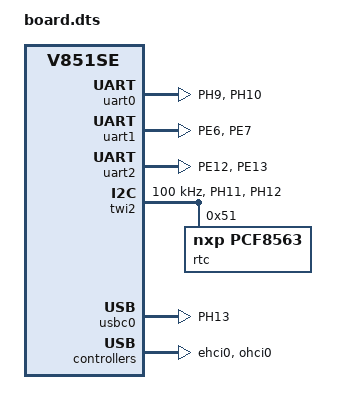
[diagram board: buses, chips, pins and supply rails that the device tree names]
/*
 * Allwinner Technology CO., Ltd. sun8iw21p1 soc board.
 *
 * Antares board configuration
 */

/dts-v1/;

#include "sun8iw21p1.dtsi"

/{
	compatible = "allwinner,sun8iw21p1", "arm,sun8iw21p1", "allwinner,v851se";
	soc@03000000 {
		/* Disable WLAN module */
		wlan: wlan@0 {
			status = "disabled";
		};

		/* Disable video input subsystem - not used */
		vind0:vind@0 {
			vind0_clk = <200000000>;
			status = "disabled";

			csi2:csi@2 {
				pinctrl-names = "default","sleep";
				pinctrl-0 = <&ncsi_pins_a>;
				pinctrl-1 = <&ncsi_pins_b>;
				status = "disabled";
			};

			tdm0:tdm@0 {
				work_mode = <0>;
			};

			isp00:isp@0 {
				work_mode = <0>;
			};

			scaler00:scaler@0 {
				work_mode = <0>;
			};

			scaler10:scaler@4 {
				work_mode = <0>;
			};

			scaler20:scaler@8 {
				work_mode = <0>;
			};

			scaler30:scaler@12 {
				work_mode = <0>;
			};

			actuator0:actuator@0 {
				device_type = "actuator0";
				actuator0_name = "ad5820_act";
				actuator0_slave = <0x18>;
				actuator0_af_pwdn = <>;
				actuator0_afvdd = "afvcc-csi";
				actuator0_afvdd_vol = <2800000>;
				status = "disabled";
			};

			flash0:flash@0 {
				device_type = "flash0";
				flash0_type = <2>;
				flash0_en = <>;
				flash0_mode = <>;
				flash0_flvdd = "";
				flash0_flvdd_vol = <>;
				status = "disabled";
			};

			sensor0:sensor@0 {
				device_type = "sensor0";
				sensor0_mname = "gc2053_mipi";
				sensor0_twi_cci_id = <3>;
				sensor0_twi_addr = <0x6e>;
				sensor0_mclk_id = <0>;
				sensor0_pos = "rear";
				sensor0_isp_used = <1>;
				sensor0_fmt = <1>;
				sensor0_stby_mode = <0>;
				sensor0_vflip = <0>;
				sensor0_hflip = <0>;
				sensor0_iovdd-supply = <>;
				sensor0_iovdd_vol = <1800000>;
				sensor0_avdd-supply = <>;
				sensor0_avdd_vol = <2800000>;
				sensor0_dvdd-supply = <>;
				sensor0_dvdd_vol = <1200000>;
				sensor0_power_en = <>;
				sensor1_reset = <&pio PA 20 1 0 1 0>;
				sensor1_pwdn = <&pio PA 21 1 0 1 0>;
				sensor0_sm_hs = <>;
				sensor0_sm_vs = <>;
				flash_handle = <&flash0>;
				act_handle = <&actuator0>;
				status	= "disabled";
			};

			sensor1:sensor@1 {
				device_type = "sensor1";
				sensor1_mname = "imx386_mipi_2";
				sensor1_twi_cci_id = <0>;
				sensor1_twi_addr = <0x20>;
				sensor1_mclk_id = <1>;
				sensor1_pos = "front";
				sensor1_isp_used = <1>;
				sensor1_fmt = <1>;
				sensor1_stby_mode = <0>;
				sensor1_vflip = <0>;
				sensor1_hflip = <0>;
				sensor1_iovdd-supply = <>;
				sensor1_iovdd_vol = <1800000>;
				sensor1_avdd-supply = <>;
				sensor1_avdd_vol = <2800000>;
				sensor1_dvdd-supply = <>;
				sensor1_dvdd_vol = <1200000>;
				sensor1_power_en = <>;
				sensor1_reset = <&pio PA 20 1 0 1 0>;
				sensor1_pwdn = <&pio PA 21 1 0 1 0>;
				sensor1_sm_hs = <&pio PE 2 1 0 1 0>;
				sensor1_sm_vs = <&pio PE 3 1 0 1 0>;
				flash_handle = <>;
				act_handle = <>;
				status	= "disabled";
			};

			/* Disable all camera inputs */
			vinc00:vinc@0 {
				vinc0_csi_sel = <0>;
				vinc0_mipi_sel = <0>;
				vinc0_isp_sel = <0>;
				vinc0_isp_tx_ch_ = <0>;
				vinc0_tdm_rx_sel = <0>;
				vinc0_rear_sensor_sel = <0>;
				vinc0_front_sensor_sel = <0>;
				vinc0_sensor_list = <0>;
				work_mode = <0x0>;
				status = "disabled";
			};

			vinc01:vinc@1 {
				vinc1_csi_sel = <2>;
				vinc1_mipi_sel = <0xff>;
				vinc1_isp_sel = <1>;
				vinc1_isp_tx_ch = <1>;
				vinc1_tdm_rx_sel = <1>;
				vinc1_rear_sensor_sel = <0>;
				vinc1_front_sensor_sel = <0>;
				vinc1_sensor_list = <0>;
				status = "disabled";
			};
		};
	};
};

&npu {
	clock-frequency = <348000000>;/*0.93V 348M*;  0.96V  348M */
	status = "disabled"; // Disable NPU
};

/* UART0: Debug/main UART interface connected to connector J4 (PH9/PH10) */
&uart0 {
	pinctrl-names = "default", "sleep";
	pinctrl-0 = <&uart0_pins_active>;
	pinctrl-1 = <&uart0_pins_sleep>;
	status = "okay";
};

/* UART1: Connected to LTE modem (PE6/PE7) */
&uart1 {
	pinctrl-names = "default", "sleep";
	pinctrl-0 = <&uart1_pins_active>;
	pinctrl-1 = <&uart1_pins_sleep>;
	status = "okay";
};

/* UART2: User interface accessible through connector J3 (PE12/PE13) */
&uart2 {
	pinctrl-names = "default", "sleep";
	pinctrl-0 = <&uart2_pins_active>;
	pinctrl-1 = <&uart2_pins_sleep>;
	status = "okay";
};

/* UART3: Disabled - not used */
&uart3 {
	pinctrl-names = "default", "sleep";
	pinctrl-0 = <&uart3_pins_active>;
	pinctrl-1 = <&uart3_pins_sleep>;
	status = "disabled";
};

&pio {
	/* GPIO control pins configuration */
	gpio_control_pins_a: gpio-control-a@0 {
		allwinner,pins = "PA8", "PA9";
		allwinner,function = "gpio_out";
		allwinner,muxsel = <1>;
		allwinner,drive = <1>;
		allwinner,pull = <0>;
	};

	gpio_control_pins_e: gpio-control-e@0 {
		allwinner,pins = "PE3", "PE4", "PE11";
		allwinner,function = "gpio_out";
		allwinner,muxsel = <1>;
		allwinner,drive = <1>;
		allwinner,pull = <0>;
	};

	/* GPIO LED pins configuration */
	gpio_led_pins: gpio-led-pins@0 {
		allwinner,pins = "PF1", "PF4", "PF6";
		allwinner,function = "gpio_out";
		allwinner,muxsel = <1>;
		allwinner,drive = <1>;
		allwinner,pull = <0>;
	};

	/* GPIO input pins configuration (status signals) */
	gpio_input_pins_e: gpio-input-e@0 {
		allwinner,pins = "PE0", "PE2", "PE5", "PE8", "PE9";
		allwinner,function = "gpio_in";
		allwinner,muxsel = <0>;
		allwinner,drive = <0>;
		allwinner,pull = <1>; /* Pull-up for stable readings */
	};

	gpio_input_pins_f: gpio-input-f@0 {
		allwinner,pins = "PF3";
		allwinner,function = "gpio_in";
		allwinner,muxsel = <0>;
		allwinner,drive = <0>;
		allwinner,pull = <1>; /* Pull-up for stable readings */
	};

	gpio_input_pins_h: gpio-input-h@0 {
		allwinner,pins = "PH0";
		allwinner,function = "gpio_in";
		allwinner,muxsel = <0>;
		allwinner,drive = <0>;
		allwinner,pull = <1>; /* Pull-up for stable readings */
	};

	usb_vbus_pins: usb-vbus@0 {
    allwinner,pins = "PH13";
    allwinner,function = "gpio_in";
    allwinner,muxsel = <0>;
    allwinner,drive = <0>;
    allwinner,pull = <1>; /* Pull-up for VBUS detection */
	};

	/* UART0: Debug/main UART (PH9/PH10) */
	uart0_pins_active: uart0@0 {
		allwinner,pins = "PH9", "PH10";
		allwinner,function = "uart0";
		allwinner,muxsel = <5>;
		allwinner,drive = <1>;
		allwinner,pull = <1>;
	};

	uart0_pins_sleep: uart0@1 {
		allwinner,pins = "PH9", "PH10";
		allwinner,function = "gpio_in";
		allwinner,muxsel = <0>;
	};

	/* UART1: LTE Modem interface (PE6/PE7) */
	uart1_pins_active: uart1@0 {
		allwinner,pins = "PE6", "PE7";
		allwinner,function = "uart1";
		allwinner,muxsel = <6>;
		allwinner,drive = <1>;
		allwinner,pull = <1>;
	};

	uart1_pins_sleep: uart1@1 {
		allwinner,pins = "PE6", "PE7";
		allwinner,function = "gpio_in";
		allwinner,muxsel = <0>;
	};

	/* UART2: User interface (PE12/PE13) */
	uart2_pins_active: uart2@0 {
		allwinner,pins = "PE12", "PE13";
		allwinner,function = "uart2";
		allwinner,muxsel = <6>;
		allwinner,drive = <1>;
		allwinner,pull = <1>;
	};

	uart2_pins_sleep: uart2@1 {
		allwinner,pins = "PE12", "PE13";
		allwinner,function = "gpio_in";
		allwinner,muxsel = <0>;
	};

	uart3_pins_active: uart3@0 {
		allwinner,pins = "PH0", "PH1";
		allwinner,function = "uart3";
		allwinner,muxsel = <5>;
		allwinner,drive = <1>;
		allwinner,pull = <1>;
	};

	uart3_pins_sleep: uart3@1 {
		allwinner,pins = "PH0", "PH1";
		allwinner,function = "gpio_in";
		allwinner,muxsel = <0>;
	};

	/* SPI0: Flash Memory interface (PC0-PC5) */
	spi0_pins_a: spi0@0 {
		allwinner,pins = "PC0", "PC2", "PC3";
		allwinner,pname = "spi0_sclk", "spi0_mosi", "spi0_miso";
		allwinner,function = "spi0";
		allwinner,muxsel = <4>;
		allwinner,drive = <1>;
		allwinner,pull = <0>;
	};

	spi0_pins_b: spi0@1 {
		allwinner,pins = "PC1", "PC5", "PC4";
		allwinner,pname = "spi0_cs0", "spi0_hold", "spi0_wp";
		allwinner,function = "spi0";
		allwinner,muxsel = <4>;
		allwinner,drive = <1>;
		allwinner,pull = <1>;   // only CS should be pulled up
	};

	spi0_pins_c: spi0@2 {
		allwinner,pins = "PC0", "PC1", "PC2", "PC3", "PC4", "PC5";
		allwinner,function = "io_disabled";
		allwinner,muxsel = <7>;
		allwinner,drive = <1>;
		allwinner,pull = <0>;
	};

	/* TWI2: I2C interface for Microcontroller, Accelerometer, RTC and 1Wire (PH11/PH12) */
	twi2_pins_a: twi2@0 {
		allwinner,pins = "PH11", "PH12";
		allwinner,pname = "twi2_scl", "twi2_sda";
		allwinner,function = "twi2";
		allwinner,muxsel = <5>;
		allwinner,drive = <0>;
		allwinner,pull = <0>;
	};

	twi2_pins_b: twi2@1 {
		allwinner,pins = "PH11", "PH12";
		allwinner,function = "io_disabled";
		allwinner,muxsel = <0xf>;
		allwinner,drive = <0>;
		allwinner,pull = <0>;
	};
};

/* SPI0: Flash Memory interface - Disabled (handled by U-Boot) */
&spi0 {
	clock-frequency = <100000000>;
	pinctrl-0 = <&spi0_pins_a &spi0_pins_b>;
	pinctrl-1 = <&spi0_pins_c>;
	pinctrl-names = "default", "sleep";
	spi_slave_mode = <0>;
	spi_dbi_enable = <0>;
	spi0_cs_number = <1>;
	status = "disabled";

	spi_board0 {
		device_type = "spi_board0";
		compatible = "spi-nor";
		spi-max-frequency = <0x05F5E100>;
		m25p,fast-read = <1>;
		/*individual_lock;*/
		reg = <0x0>;
		spi-rx-bus-width=<0x04>;
		spi-tx-bus-width=<0x04>;
		status="disabled";
	};

	spi-nand@0 {
		compatible = "spi-nand";
		spi-max-frequency=<0x05F5E100>;
		reg = <0x0>;
		spi-rx-bus-width=<0x04>;
		spi-tx-bus-width=<0x04>;
		status="disabled";
	};
};

/* Disable SPI1 - not used */
&spi1 {
	status = "disabled";
};

/* Disable SPI5/SPIF - not used */
&spi5 {
	status = "disabled";
};

/* Disable TWI0 - not used */
&twi0 {
	status = "disabled";
};

/* Disable TWI1 - not used */
&twi1 {
	status = "disabled";
};

/* TWI2: Enable for Microcontroller, Accelerometer, RTC and 1Wire */
&twi2 {
	clock-frequency = <100000>;
	pinctrl-0 = <&twi2_pins_a>;
	pinctrl-1 = <&twi2_pins_b>;
	pinctrl-names = "default", "sleep";
	/* For stability and backwards compatibility, we recommend setting 'twi_drv_used' to 0  */
	twi_drv_used = <0>;
	twi_pkt_interval = <0>;
	status = "okay";

	/* FRTC8563M - I2C RTC at 0x51 */
	rtc@51 {
		compatible = "nxp,pcf8563";
		reg = <0x51>;
		status = "okay";
	};

	/* LIS2HH12TR - Accelerometer at 0x1e */
	// accelerometer@1e {
	// 	compatible = "st,lis2hh12";
	// 	reg = <0x1e>;
	// 	interrupt-parent = <&pio>;
	// 	interrupts = <PH 0 IRQ_TYPE_EDGE_RISING>, /* ACCEL_INT1 */
	// 		     <PF 3 IRQ_TYPE_EDGE_RISING>; /* ACCEL_INT2 */
	// 	interrupt-names = "INT1", "INT2";
	// 	status = "okay";
	// };

	/* DS2482S - I2C to 1-Wire Bridge at 0x18 */
	// w1@18 {
	// 	compatible = "maxim,ds2482";
	// 	reg = <0x18>;
	// 	status = "okay";
	// };
};

/* Disable TWI3 - not used */
&twi3 {
	status = "disabled";
};

/* Disable TWI4 - not used */
&twi4 {
	status = "disabled";
};

/* Disable audio codec - not used */
&codec {
	status = "disabled";
};

&codec_plat {
	status = "disabled";
};

&codec_mach {
	status = "disabled";
};

/* Disable DMIC - not used */
&dmic_plat {
	status = "disabled";
};

&dmic_mach {
	status = "disabled";
};

/* Disable I2S/PCM - not used */
&daudio0_plat {
	status = "disabled";
};

&daudio0_mach {
	status = "disabled";
};

&daudio1_plat {
	status = "disabled";
};

&daudio1_mach {
	status = "disabled";
};

/* USB configuration - Enable USB interface as HOST mode */
&usbc0 {
	device_type = "usbc0";
	usb_port_type = <0x01>;
	usb_detect_type = <0x1>;
	usb_detect_mode = <0x01>;
	usb_id_gpio;
	usb_det_vbus_gpio;
	usb_force_interface = <0x01>;   /* Force interface: 1=host, 0=device (if supported) */
	usb_det_vbus_gpio = <&pio PH 13 0 1 2 0>; /* PH13 for VBUS detection */
	pinctrl-names = "default";
    pinctrl-0 = <&usb_vbus_pins>;
	usb_regulator_io = "nocare";
	usb_wakeup_suspend = <0x0>;
	usb_luns = <0x3>;
	usb_serial_unique = <0x0>;
	usb_serial_number = "20080411";
	status = "okay";
};

&ehci0 {
    status = "okay";
};

&ohci0 {
    status = "okay";
};

&udc {
	status = "disabled";
};

/* Disable PWM modules - not used */
&pwm4 {
	status = "disabled";
};

&pwm6 {
	status = "disabled";
};

&pwm7 {
	status = "disabled";
};

&pwm11 {
	status = "disabled";
};

&pwm {
	status = "disabled";
};

/* Disable GPADC - not used */
&gpadc {
	status = "disabled";
};

/* Disable Wiegand - not used */
&wiegand {
	status = "disabled";
};

/* Disable Ethernet - not used */
&gmac0{
	status = "disabled";
};

/* Disable all SD/MMC interfaces - not used in your configuration */
&sdc0 {
	status = "disabled";
};

&sdc1 {
	status = "disabled";
};

&sdc2 {
	status = "disabled";
};

&cpu0 {
	vf_tbl_sel = <0>;
};
